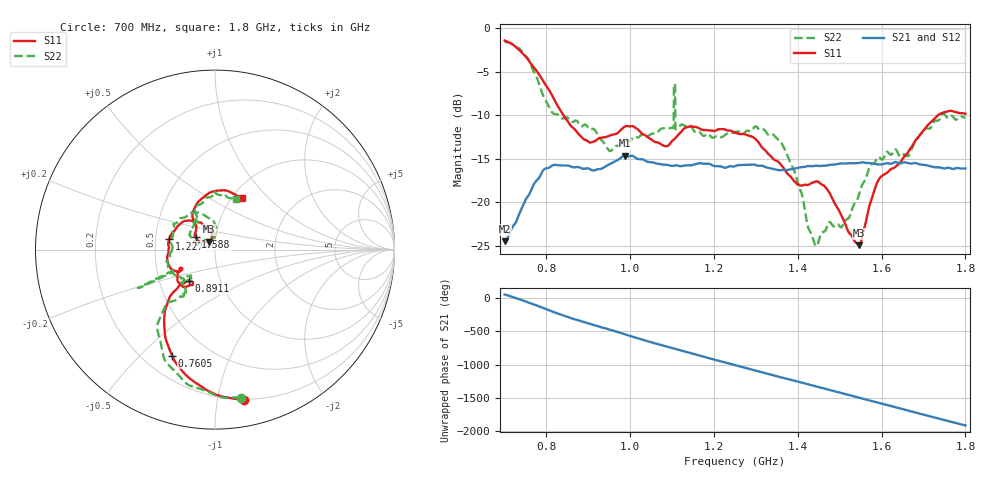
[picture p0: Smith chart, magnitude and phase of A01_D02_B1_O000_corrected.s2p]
! Created with skrf 1.9.0 (http://scikit-rf.org).
# Hz S RI R 50.0
!freq ReS11 ImS11 ReS21 ImS21 ReS12 ImS12 ReS22 ImS22
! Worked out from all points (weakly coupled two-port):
!   1601 points, 700 MHz to 1.8 GHz, reference 50 ohm
!   highest |S21| = -14.65 dB at 986.7 MHz (marker M1); lowest = -24.5 dB at 701.4 MHz (marker M2)
!   lowest |S11| = -25.0 dB at 1.546 GHz (marker M3), VSWR 1.12, Z = 46.5 + j4.19 ohm
!   |S11| at or under -10 dB: 840.5 MHz to 1.735 GHz (894.1 MHz wide, 69.4 % of centre)
!   |S22| runs from -25.1 to -1.5 dB; largest |S21 - S12| = 0.0035
!   S11 on the Smith chart (normalised r, x): 700 MHz: 0.20, -1.19; 760.5 MHz: 0.32, -0.63; 891.1 MHz: 0.71, -0.26; 1.227 GHz: 0.59, +0.08; 1.588 GHz: 0.80, +0.11; 1.8 GHz: 1.11, +0.71
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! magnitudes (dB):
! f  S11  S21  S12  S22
! 700 MHz  -1.4  -24.5  -24.3  -1.5
! 701.4 MHz  -1.4  -24.5  -24.1  -1.6
! 760.5 MHz  -3.9  -18.9  -18.8  -4.0
! 812.8 MHz  -7.7  -15.8  -15.8  -9.6
! 883.6 MHz  -12.5  -16.1  -16.0  -11.3
! 891.1 MHz  -12.8  -16.2  -16.2  -11.1
! 950.9 MHz  -12.3  -15.6  -15.6  -14.1
! 986.7 MHz  -11.3  -14.7  -14.7  -12.9
! 1.067 GHz  -13.2  -15.6  -15.5  -11.8
! 1.101 GHz  -12.9  -15.8  -15.8  -11.5
! 1.227 GHz  -11.7  -16.0  -15.9  -12.2
! 1.25 GHz  -12.0  -15.9  -15.8  -12.0
! 1.359 GHz  -15.7  -16.3  -16.3  -13.1
! 1.394 GHz  -17.7  -16.1  -16.1  -16.7
! 1.434 GHz  -17.8  -15.9  -15.8  -23.8
! 1.505 GHz  -21.6  -15.5  -15.5  -22.8
! 1.546 GHz  -25.0  -15.5  -15.4  -19.1
! 1.588 GHz  -17.9  -15.6  -15.6  -15.0
! 1.617 GHz  -16.4  -15.5  -15.5  -14.4
! 1.663 GHz  -14.2  -15.5  -15.5  -14.7
! 1.736 GHz  -9.9  -16.0  -16.0  -10.6
! 1.8 GHz  -9.8  -16.1  -16.1  -10.3
